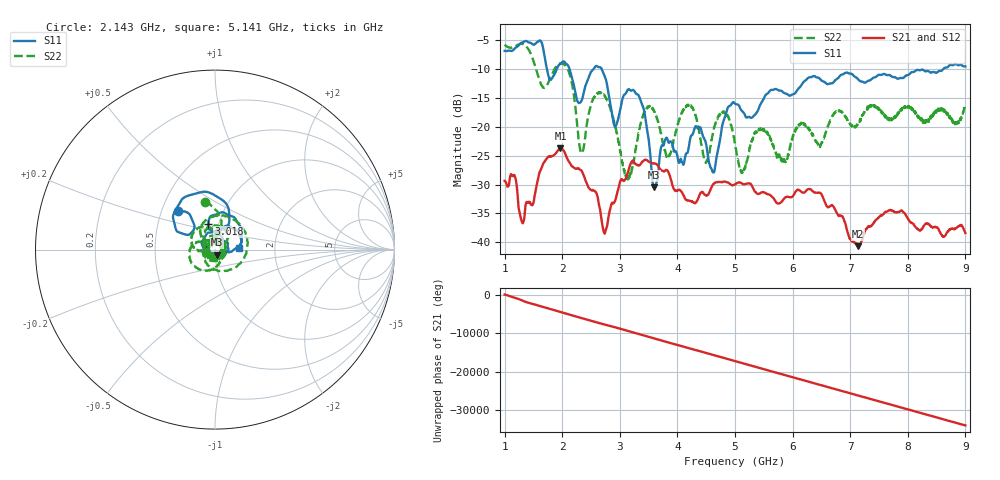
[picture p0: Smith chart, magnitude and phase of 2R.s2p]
!Keysight Technologies N9915A: A.10.33
!Date: Tuesday, 12 May 2020 14:11:11
!Timezone: (UTC+08:00) Perth
!Model: N9915A
!Serial: MY53102697
!GPS Latitude:
!GPS Longitude:
!GPS TimeStamp: 0001-01-01 00:00:00Z
!GPS Seconds Since Last Read: 0
!CHECKSUM:0961356493
!Correction: S11(ON U)S21(ON U)S12(ON U)S22(ON U)
!S2P File: Measurements:S11,S21,S12,S22:
# Hz S DB R 50
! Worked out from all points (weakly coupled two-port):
!   10001 points, 1 GHz to 9 GHz, reference 50 ohm
!   highest |S21| = -23.68 dB at 1.969 GHz (marker M1); lowest = -40.7 dB at 7.131 GHz (marker M2)
!   lowest |S11| = -30.5 dB at 3.593 GHz (marker M3), VSWR 1.06, Z = 51 - j2.85 ohm
!   |S11| at or under -10 dB: 1.735 GHz to 1.903 GHz (167.8 MHz wide, 9.23 % of centre); 2.129 GHz to 2.542 GHz (413.2 MHz wide, 17.7 % of centre); 2.687 GHz to 8.614 GHz (5.927 GHz wide, 105 % of centre)
!   |S22| runs from -29.1 to -5.6 dB; largest |S21 - S12| = 0.0025
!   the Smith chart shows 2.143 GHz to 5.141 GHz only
!   S11 on the Smith chart (normalised r, x): 2.143 GHz: 0.61, +0.29; 3.018 GHz: 0.89, +0.26; 5.141 GHz: 1.31, +0.02
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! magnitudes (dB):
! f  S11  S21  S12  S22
! 1 GHz  -6.8  -29.4  -29.7  -5.8
! 1.31 GHz  -5.3  -36.7  -36.8  -5.6
! 1.969 GHz  -9.1  -23.7  -23.7  -9.0
! 2.143 GHz  -10.5  -26.4  -26.5  -11.3
! 2.334 GHz  -15.5  -27.5  -27.6  -24.5
! 2.66 GHz  -9.7  -34.5  -34.5  -14.1
! 3.018 GHz  -16.5  -29.2  -29.2  -24.6
! 3.162 GHz  -13.5  -27.2  -27.3  -28.7
! 3.35 GHz  -15.1  -26.6  -26.7  -19.8
! 3.593 GHz  -30.5  -26.3  -26.4  -17.3
! 3.667 GHz  -28.2  -26.9  -26.8  -19.0
! 3.838 GHz  -22.5  -27.7  -27.7  -25.2
! 4.344 GHz  -20.2  -32.8  -32.8  -19.2
! 4.49 GHz  -22.6  -31.9  -31.9  -26.1
! 4.621 GHz  -27.9  -29.9  -30.0  -20.7
! 5 GHz  -15.9  -30.0  -30.0  -22.8
! 5.141 GHz  -17.4  -29.9  -30.0  -27.8
! 5.419 GHz  -16.6  -31.6  -31.7  -20.3
! 6.334 GHz  -11.3  -31.0  -31.0  -21.0
! 7.131 GHz  -11.7  -40.7  -40.7  -19.4
! 7.667 GHz  -11.0  -34.5  -34.5  -18.5
! 9 GHz  -9.5  -38.4  -37.6  -16.3
